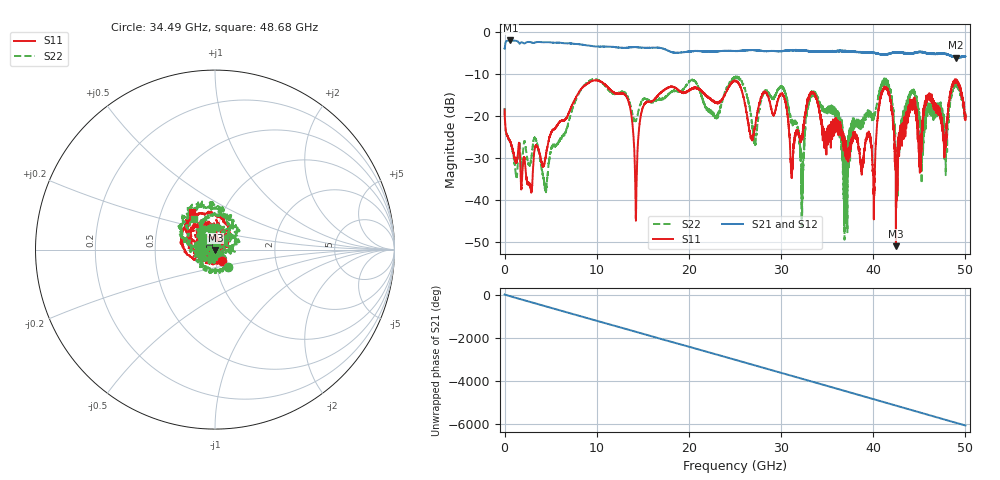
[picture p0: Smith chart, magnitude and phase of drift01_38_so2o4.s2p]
!Created with skrf (http://scikit-rf.org).
# Hz S RI R 50.0
!freq ReS11 ImS11 ReS21 ImS21 ReS12 ImS12 ReS22 ImS22
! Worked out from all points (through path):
!   10001 points, 300 kHz to 50 GHz, reference 50 ohm
!   highest |S21| = -2.00 dB at 625.3 MHz (marker M1); lowest = -6.1 dB at 48.98 GHz (marker M2)
!   group delay of S21, straight-line fit = 336 ps
!   lowest |S11| = -50.9 dB at 42.46 GHz (marker M3), VSWR 1.01, Z = 50.2 - j0.175 ohm
!   |S11| at or under -10 dB: start of sweep to end of sweep
!   |S22| runs from -49.4 to -10.5 dB; largest |S21 - S12| = 0.02
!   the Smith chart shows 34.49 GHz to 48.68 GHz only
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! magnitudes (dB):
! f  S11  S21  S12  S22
! 300 kHz  -18.4  -4.0  -4.1  -18.0
! 625.3 MHz  -26.1  -2.0  -2.0  -26.2
! 4.445 GHz  -29.8  -2.4  -2.4  -37.2
! 8.335 GHz  -13.5  -3.0  -3.0  -13.5
! 13.16 GHz  -15.2  -3.7  -3.7  -14.6
! 14.25 GHz  -44.9  -3.6  -3.6  -21.1
! 14.98 GHz  -18.0  -3.7  -3.7  -16.1
! 16.67 GHz  -14.9  -3.7  -3.7  -15.9
! 25 GHz  -11.6  -4.5  -4.6  -11.0
! 27.15 GHz  -22.6  -4.3  -4.3  -25.9
! 30.2 GHz  -15.0  -4.5  -4.5  -13.4
! 31.15 GHz  -34.7  -4.3  -4.4  -21.1
! 32.26 GHz  -25.2  -4.3  -4.4  -41.4
! 33.34 GHz  -14.2  -4.7  -4.6  -14.7
! 37.03 GHz  -26.8  -4.6  -4.6  -38.9
! 40.06 GHz  -42.9  -4.9  -5.0  -20.3
! 41.67 GHz  -14.2  -5.2  -5.2  -12.9
! 42.46 GHz  -50.9  -4.8  -4.8  -32.7
! 44.21 GHz  -17.5  -5.1  -5.1  -14.1
! 47.75 GHz  -28.1  -5.2  -5.2  -26.8
! 48.98 GHz  -11.4  -6.1  -6.0  -12.9
! 50 GHz  -19.6  -5.8  -5.8  -19.4
